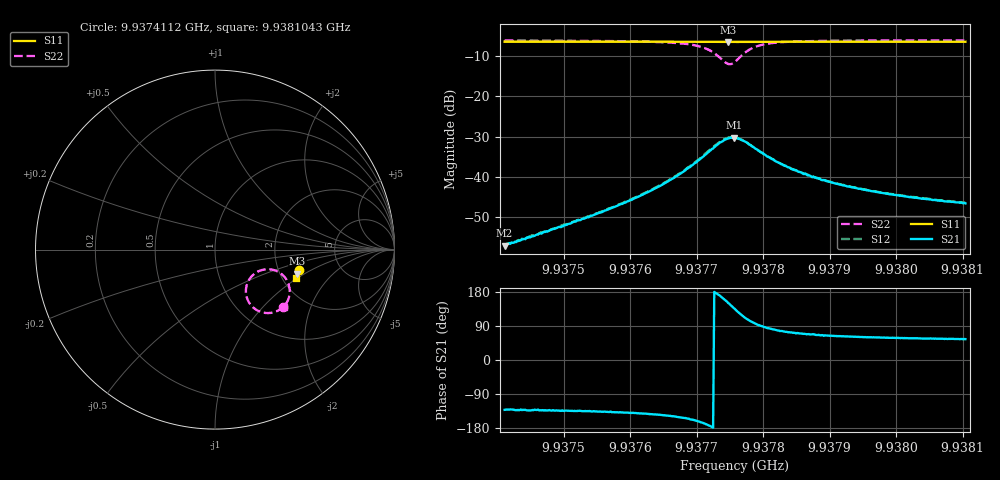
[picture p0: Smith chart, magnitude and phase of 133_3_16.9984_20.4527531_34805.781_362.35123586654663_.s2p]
#  HZ  S  RI  R  50.00
! Rohde & Schwarz Vector Network Analyzer
! Rohde-Schwarz,ZNB20-2Port,1311601062101988,3.16
! Created: UTC 3/20/2024, 10:58:02 PM
! freq[Hz]  re:S11  im:S11  re:S21  im:S21  re:S12  im:S12  re:S22  im:S22
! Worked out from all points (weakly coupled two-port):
!   401 points, 9.9374112 GHz to 9.9381043 GHz, reference 50 ohm
!   highest |S21| = -30.27 dB at 9.937756 GHz (marker M1); lowest = -57.2 dB at 9.9374112 GHz (marker M2)
!   lowest |S11| = -6.4 dB at 9.9377473 GHz (marker M3), VSWR 2.83, Z = 124 - j43.2 ohm
!   |S11| at or under -10 dB: nowhere
!   |S22| runs from -12.0 to -6.0 dB; largest |S21 - S12| = 0.0017
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9.93741117e9  0.4693 -0.1136  -0.000914 -0.00103  -0.000917 -0.000999  0.381 -0.3187
9.93752726e9  0.467 -0.1215  -0.00208 -0.00209  -0.00215 -0.0021  0.365 -0.3311
9.93757751e9  0.4658 -0.1251  -0.00313 -0.00283  -0.00321 -0.00284  0.3531 -0.3385
9.93761564e9  0.4647 -0.1276  -0.0045 -0.00366  -0.00464 -0.00363  0.3392 -0.3449
9.93764336e9  0.4638 -0.1296  -0.00613 -0.00439  -0.00637 -0.00435  0.3238 -0.35
9.93767455e9  0.4628 -0.1317  -0.00941 -0.00519  -0.00966 -0.00517  0.2945 -0.3534
9.93770747e9  0.4613 -0.1338  -0.0165 -0.0045  -0.017 -0.00425  0.2362 -0.339
9.93772653e9  0.4599 -0.1347  -0.0232 0.000159  -0.0239 0.000874  0.1877 -0.2914
9.93773866e9  0.459 -0.1347  -0.0265 0.00725  -0.027 0.00856  0.1721 -0.2274
9.93774733e9  0.4586 -0.1345  -0.0261 0.0146  -0.0261 0.0158  0.1875 -0.1717
9.93775079e9  0.4587 -0.1344  -0.025 0.0173  -0.0248 0.0187  0.2019 -0.1515
9.93775599e9  0.4588 -0.1343  -0.0224 0.0209  -0.0217 0.0222  0.23 -0.1273
9.93775772e9  0.459 -0.1341  -0.0212 0.0218  -0.0205 0.0232  0.2408 -0.1213
9.93776639e9  0.4594 -0.1343  -0.0147 0.025  -0.0138 0.0257  0.2961 -0.1092
9.93777678e9  0.46 -0.1348  -0.00767 0.0249  -0.00676 0.0254  0.3503 -0.1228
9.93779584e9  0.4606 -0.1363  -0.00015 0.0204  0.000512 0.0204  0.4003 -0.1705
9.9378201e9  0.4603 -0.1384  0.00296 0.0151  0.0034 0.0151  0.4159 -0.2173
9.93783397e9  0.4603 -0.1397  0.00373 0.0131  0.00384 0.013  0.4167 -0.2354
9.93787382e9  0.4596 -0.1427  0.00375 0.0091  0.00408 0.00923  0.4116 -0.2673
9.93792234e9  0.4582 -0.1461  0.00357 0.00686  0.00376 0.00684  0.4037 -0.2875
9.93798991e9  0.4566 -0.1505  0.00315 0.00514  0.00328 0.00514  0.3947 -0.3033
9.93810428e9  0.4534 -0.1582  0.00265 0.0038  0.00277 0.00384  0.3831 -0.3188
